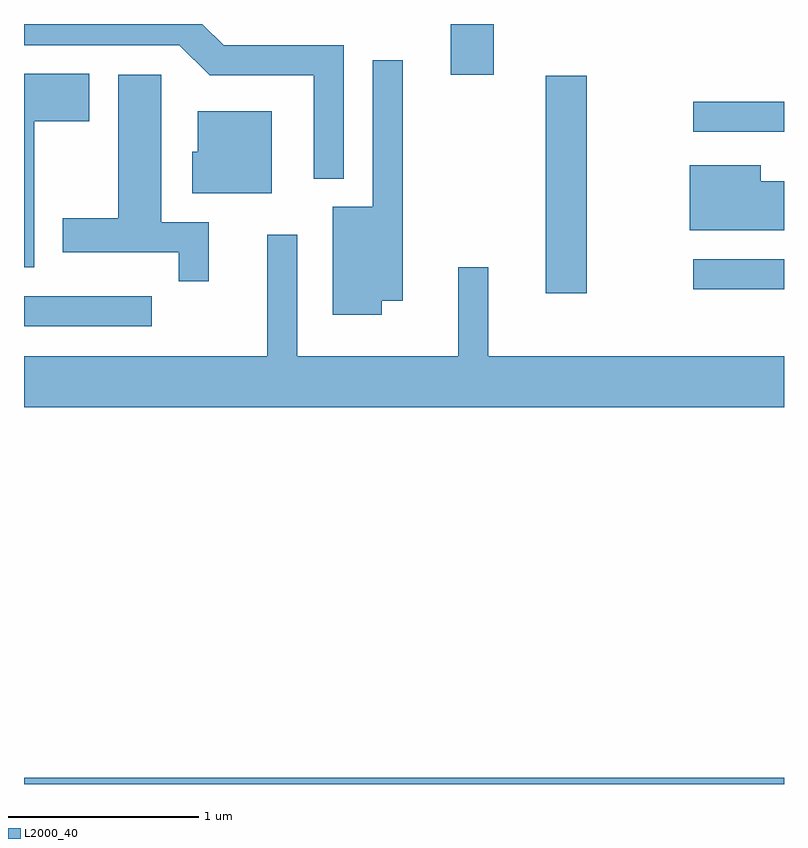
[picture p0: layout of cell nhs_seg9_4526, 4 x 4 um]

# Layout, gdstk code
import gdstk
lib = gdstk.Library(unit=1e-6, precision=1e-09)
def R(c, l, rs):  # rectangles x0, y0, x1, y1
    for r in rs: c.add(gdstk.rectangle(r[:2], r[2:], *l))
def P(c, l, *ps):  # polygons
    for p in ps: c.add(gdstk.Polygon(p, *l))
L2000_40 = (2000, 40)

nhs_seg9_4526 = lib.new_cell('nhs_seg9_4526')
R(nhs_seg9_4526, L2000_40, [(317.611,2056.432,321.611,2056.464), (317.611,2058.841,318.283,2058.999), (320.356,2059.016,320.574,2060.159), (321.133,2059.036,321.611,2059.194), (321.133,2059.866,321.611,2060.024), (319.856,2060.166,320.084,2060.432)])
P(nhs_seg9_4526, L2000_40, [(319.294,2060.319),(318.662,2060.319),(318.549,2060.432),(317.611,2060.432),(317.611,2060.321),(318.429,2060.321),(318.589,2060.161),(319.136,2060.161),(319.136,2059.617),(319.294,2059.617)],
  [(319.494,2058.976),(319.604,2058.976),(319.604,2060.242),(319.446,2060.242),(319.446,2059.469),(319.236,2059.469),(319.236,2058.901),(319.494,2058.901)],
  [(317.664,2059.921),(317.954,2059.921),(317.954,2060.169),(317.611,2060.169),(317.611,2059.151),(317.664,2059.151)],
  [(318.584,2059.389),(318.334,2059.389),(318.334,2060.164),(318.106,2060.164),(318.106,2059.409),(317.816,2059.409),(317.816,2059.231),(318.426,2059.231),(318.426,2059.077),(318.584,2059.077)],
  [(318.914,2059.974),(318.526,2059.974),(318.526,2059.759),(318.496,2059.759),(318.496,2059.541),(318.914,2059.541)],
  [(321.611,2059.604),(321.489,2059.604),(321.489,2059.689),(321.116,2059.689),(321.116,2059.346),(321.611,2059.346)],
  [(321.611,2058.684),(320.054,2058.684),(320.054,2059.153),(319.896,2059.153),(319.896,2058.684),(319.049,2058.684),(319.049,2059.323),(318.891,2059.323),(318.891,2058.684),(317.611,2058.684),(317.611,2058.416),(321.611,2058.416)])

lib.write_gds('nhs_seg9_4526.gds')
